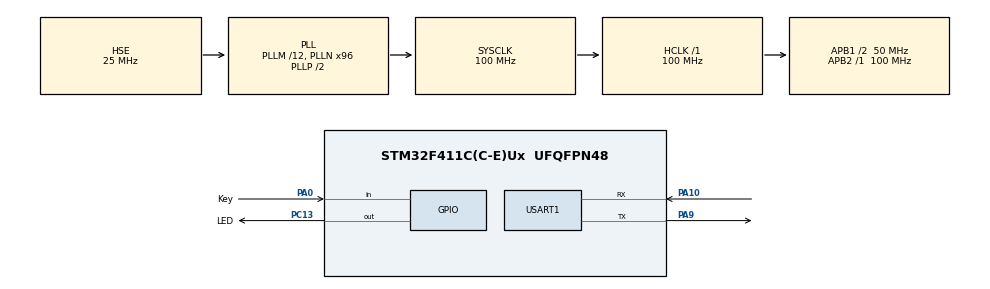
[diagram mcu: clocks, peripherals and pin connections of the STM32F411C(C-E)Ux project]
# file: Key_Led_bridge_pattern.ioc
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FREERTOS.Tasks01=defaultTask,24,128,StartDefaultTask,Default,NULL,Dynamic,NULL,NULL
Mcu.Family=STM32F4
Mcu.Name=STM32F411C(C-E)Ux
Mcu.Package=UFQFPN48
NVIC.PriorityGroup=NVIC_PRIORITYGROUP_4
NVIC.TIM1_UP_TIM10_IRQn=true\:15\:0\:false\:false\:true\:false\:false\:true\:true
NVIC.TimeBase=TIM1_UP_TIM10_IRQn
NVIC.TimeBaseIP=TIM1
PA0-WKUP.GPIO_Label=Key
PA0-WKUP.GPIO_PuPd=GPIO_PULLUP
PA0-WKUP.Signal=GPIO_Input
PA10.Mode=Asynchronous
PA10.Signal=USART1_RX
PA13.Mode=Serial_Wire
PA13.Signal=SYS_JTMS-SWDIO
PA14.Mode=Serial_Wire
PA14.Signal=SYS_JTCK-SWCLK
PA9.Mode=Asynchronous
PA9.Signal=USART1_TX
PC13-ANTI_TAMP.GPIO_Label=LED
PC13-ANTI_TAMP.PinState=GPIO_PIN_SET
PC13-ANTI_TAMP.Signal=GPIO_Output
PC14-OSC32_IN.Mode=LSE-External-Oscillator
PC14-OSC32_IN.Signal=RCC_OSC32_IN
PC15-OSC32_OUT.Mode=LSE-External-Oscillator
PC15-OSC32_OUT.Signal=RCC_OSC32_OUT
PH0\ -\ OSC_IN.Mode=HSE-External-Oscillator
PH0\ -\ OSC_IN.Signal=RCC_OSC_IN
PH1\ -\ OSC_OUT.Mode=HSE-External-Oscillator
PH1\ -\ OSC_OUT.Signal=RCC_OSC_OUT
ProjectManager.HeapSize=0x200
ProjectManager.StackSize=0x400
ProjectManager.TargetToolchain=MDK-ARM V5.32
RCC.48MHZClocksFreq_Value=50000000
RCC.AHBFreq_Value=100000000
RCC.APB1CLKDivider=RCC_HCLK_DIV2
RCC.APB1Freq_Value=50000000
RCC.APB1TimFreq_Value=100000000
RCC.APB2Freq_Value=100000000
RCC.APB2TimFreq_Value=100000000
RCC.CortexFreq_Value=100000000
RCC.HCLKFreq_Value=100000000
RCC.HSE_VALUE=25000000
RCC.HSI_VALUE=16000000
RCC.PLLM=12
RCC.PLLN=96
RCC.PLLSourceVirtual=RCC_PLLSOURCE_HSE
RCC.SYSCLKFreq_VALUE=100000000
RCC.SYSCLKSource=RCC_SYSCLKSOURCE_PLLCLK
RCC.VCOOutputFreq_Value=200000000
USART1.VirtualMode=VM_ASYNC
VP_FREERTOS_VS_CMSIS_V2.Mode=CMSIS_V2
VP_SYS_VS_tim1.Mode=TIM1
board=custom

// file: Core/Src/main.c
/* USER CODE BEGIN Header */
/**
  ******************************************************************************
  * @file           : main.c
  * @brief          : Main program body
  ******************************************************************************
  * @attention
  *
  * Copyright (c) 2026 STMicroelectronics.
  * All rights reserved.
  *
  * This software is licensed under terms that can be found in the LICENSE file
  * in the root directory of this software component.
  * If no LICENSE file comes with this software, it is provided AS-IS.
  *
  ******************************************************************************
  */
/* USER CODE END Header */
#include "main.h"
#include "cmsis_os.h"
#include "usart.h"
#include "gpio.h"

/* USER CODE BEGIN Includes */
#include "bsp_led_driver_hal.h"
/* USER CODE END Includes */

/* USER CODE BEGIN PV */
BSP_LED_HandleTypeDef     hled;             // LED 操作句柄
BSP_LED_HAL_Data_t        halData;          // 用于 HAL 后端存储并管理 LED 状态
/* USER CODE END PV */

void SystemClock_Config(void);
void MX_FREERTOS_Init(void);

int main(void)
{

  /* MCU Configuration--------------------------------------------------------*/

  /* Reset of all peripherals, Initializes the Flash interface and the Systick. */
  HAL_Init();

  /* USER CODE BEGIN Init */

  BSP_LED_HAL_Config_t  cfg = {
      .port        = LED_GPIO_Port,       // GPIOC
      .pin         = LED_Pin,             // GPIO_PIN_13
      .activeLevel = BSP_LED_ACTIVE_LOW,  // PC13 低电平点亮
      .htim        = NULL,                // 暂无 PWM
      .timChannel  = 0,
  };

  BSP_LED_HAL_Init(&hled, &halData, &cfg);
  /* USER CODE END Init */

  /* Configure the system clock */
  SystemClock_Config();

  /* Initialize all configured peripherals */
  MX_GPIO_Init();
  MX_USART1_UART_Init();

  /* Init scheduler */
  osKernelInitialize();  /* Call init function for freertos objects (in freertos.c) */
  MX_FREERTOS_Init();

  /* Start scheduler */
  osKernelStart();
  /* We should never get here as control is now taken by the scheduler */
  /* Infinite loop */
  while (1)
  {

  }
}

void SystemClock_Config(void)
{
  RCC_OscInitTypeDef RCC_OscInitStruct = {0};
  RCC_ClkInitTypeDef RCC_ClkInitStruct = {0};

  /** Configure the main internal regulator output voltage
  */
  __HAL_RCC_PWR_CLK_ENABLE();
  __HAL_PWR_VOLTAGESCALING_CONFIG(PWR_REGULATOR_VOLTAGE_SCALE1);

  /** Initializes the RCC Oscillators according to the specified parameters
  * in the RCC_OscInitTypeDef structure.
  */
  RCC_OscInitStruct.OscillatorType = RCC_OSCILLATORTYPE_HSE;
  RCC_OscInitStruct.HSEState = RCC_HSE_ON;
  RCC_OscInitStruct.PLL.PLLState = RCC_PLL_ON;
  RCC_OscInitStruct.PLL.PLLSource = RCC_PLLSOURCE_HSE;
  RCC_OscInitStruct.PLL.PLLM = 12;
  RCC_OscInitStruct.PLL.PLLN = 96;
  RCC_OscInitStruct.PLL.PLLP = RCC_PLLP_DIV2;
  RCC_OscInitStruct.PLL.PLLQ = 4;
  if (HAL_RCC_OscConfig(&RCC_OscInitStruct) != HAL_OK)
  {
    Error_Handler();
  }

  /** Initializes the CPU, AHB and APB buses clocks
  */
  RCC_ClkInitStruct.ClockType = RCC_CLOCKTYPE_HCLK|RCC_CLOCKTYPE_SYSCLK
                              |RCC_CLOCKTYPE_PCLK1|RCC_CLOCKTYPE_PCLK2;
  RCC_ClkInitStruct.SYSCLKSource = RCC_SYSCLKSOURCE_PLLCLK;
  RCC_ClkInitStruct.AHBCLKDivider = RCC_SYSCLK_DIV1;
  RCC_ClkInitStruct.APB1CLKDivider = RCC_HCLK_DIV2;
  RCC_ClkInitStruct.APB2CLKDivider = RCC_HCLK_DIV1;

  if (HAL_RCC_ClockConfig(&RCC_ClkInitStruct, FLASH_LATENCY_3) != HAL_OK)
  {
    Error_Handler();
  }
}

void HAL_TIM_PeriodElapsedCallback(TIM_HandleTypeDef *htim)
{
  if (htim->Instance == TIM1) {
    HAL_IncTick();
  }
}

void Error_Handler(void)
{
  __disable_irq();
  while (1)
  {
  }
}

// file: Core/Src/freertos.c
/* USER CODE BEGIN Header */
/**
  ******************************************************************************
  * File Name          : freertos.c
  * Description        : Code for freertos applications
  ******************************************************************************
  * @attention
  *
  * Copyright (c) 2026 STMicroelectronics.
  * All rights reserved.
  *
  * This software is licensed under terms that can be found in the LICENSE file
  * in the root directory of this software component.
  * If no LICENSE file comes with this software, it is provided AS-IS.
  *
  ******************************************************************************
  */
/* USER CODE END Header */

#include "FreeRTOS.h"
#include "task.h"
#include "main.h"
#include "cmsis_os.h"

/* USER CODE BEGIN Includes */
#include "led_manager.h"
/* USER CODE END Includes */

/* USER CODE BEGIN Variables */
extern BSP_LED_HandleTypeDef hled;             // LED 操作句柄（main.c 中定义）
LED_Mgr_LedObj_t ledPool[1];                   // 管理者维护的 LED 对象池（目前 1 个 LED）
static BSP_OS_QueueHandle_t gNotifyQueue = NULL;  // 闪烁完成通知队列
/* USER CODE END Variables */
/* Definitions for defaultTask */
osThreadId_t defaultTaskHandle;
const osThreadAttr_t defaultTask_attributes = {
  .name = "defaultTask",
  .stack_size = 128 * 4,
  .priority = (osPriority_t) osPriorityNormal,
};

/* USER CODE BEGIN FunctionPrototypes */
static uint32_t MyGetTick(void) { return HAL_GetTick(); }

/* USER CODE END FunctionPrototypes */

void StartDefaultTask(void *argument);

void MX_FREERTOS_Init(void); /* (MISRA C 2004 rule 8.1) */

void MX_FREERTOS_Init(void) {
  /* USER CODE BEGIN Init */
  static const BSP_Time_Ops_t timeOps = { .GetTick = MyGetTick, .DelayMs = NULL };

  /* Register LED 0 with the manager's object pool */
  (void)LED_Mgr_RegisterLed(ledPool,
                             sizeof(ledPool) / sizeof(ledPool[0]),
                             0U,
                             &hled);

  /* Create notification queue for completion callbacks (depth 4 × uint8_t) */
  gNotifyQueue = BSP_OS_FreeRTOS_GetOps()->QueueCreate(sizeof(uint8_t), 4U);

  /* Initialise the LED manager (creates queue + manager task) */
  LED_Mgr_Init_t mgrInit = {
    .pOsOps        = BSP_OS_FreeRTOS_GetOps(),
    .pTimeOps      = &timeOps,
    .pLedPool      = ledPool,
    .ledPoolSize   = sizeof(ledPool) / sizeof(ledPool[0]),
    .cmdQueueLen   = LED_MGR_CMD_QUEUE_LEN,
    .ctrlTaskStack = LED_MGR_CTRL_TASK_STACK,
    .ctrlTaskPrio  = LED_MGR_CTRL_TASK_PRIO,
  };
  LED_Mgr_Init(&mgrInit);
  /* USER CODE END Init */

  /* Create the thread(s) */
  /* creation of defaultTask */
  defaultTaskHandle = osThreadNew(StartDefaultTask, NULL, &defaultTask_attributes);

}

void StartDefaultTask(void *argument)
{
  /* USER CODE BEGIN StartDefaultTask */
  /* Avoid unused-argument warning */
  (void)argument;

  for (;;)
  {
    /*
     * Step 1: Send a START_BLINK command.
     *         500 ms cycle, 1:1 (50 %) duty, 5 counted blinks.
     *         notifyQueue = gNotifyQueue → manager sends ledId back on finish.
     */
    LED_Mgr_Cmd_t cmd = {
      .cmdId       = LED_MGR_CMD_START_BLINK,
      .ledId       = 0U,
      .notifyQueue = gNotifyQueue,
      .data.blinkCfg = {
        .cycleMs    = 500U,                /* 500 ms period                   */
        .onRatio    = 50U,                 /* 50 % duty (1:1)                 */
        .blinkCount = 5U,                  /* 5 blinks then stop              */
        .mode       = LED_BLINK_COUNTED,
      },
    };
    (void)LED_Mgr_SendCmd(&cmd);

    /*
     * Step 2: Block until the manager notifies completion.
     *         The manager's control task sends the ledId via gNotifyQueue
     *         when the counted-blink pattern finishes.
     */
    uint8_t finishedLedId;
    (void)BSP_OS_FreeRTOS_GetOps()->QueueReceive(gNotifyQueue, &finishedLedId, BSP_OS_WAIT_FOREVER);

    /*
     * Step 3: Wait 1 s, then loop back to Step 1.
     */
    osDelay(1000U);
  }
  /* USER CODE END StartDefaultTask */
}
